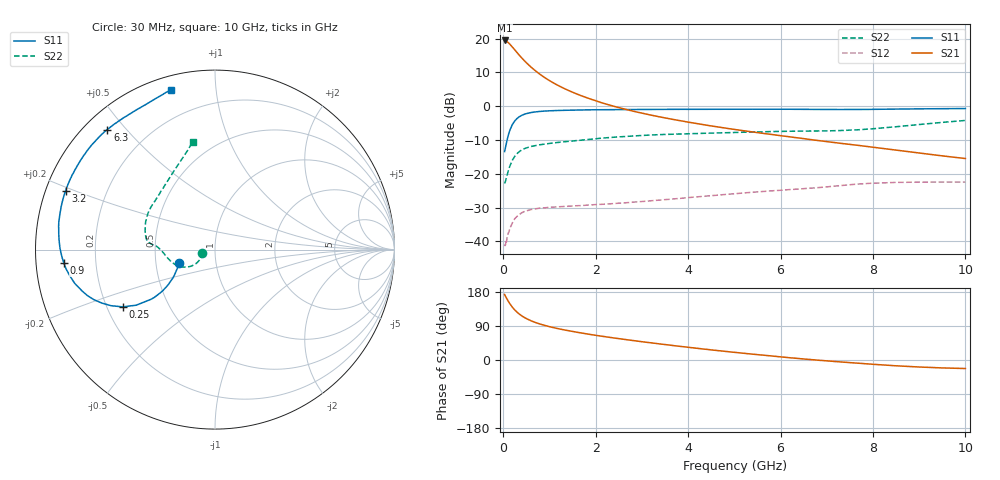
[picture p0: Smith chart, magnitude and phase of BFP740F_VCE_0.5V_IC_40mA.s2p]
! Infineon Technologies  Discrete & RF Semiconductors
! BFP740F
! VCE =  0.5 V,  IC =  40 mA
! Common Emitter S-Parameters:  Oct 2012
# GHz  S  MA  R  50
!  f  S11  S21  S12  S22
! GHz  MAG  ANG  MAG  ANG  MAG  ANG  MAG  ANG
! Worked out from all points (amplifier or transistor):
!   99 points, 30 MHz to 10 GHz, reference 50 ohm
!   highest |S21| = 19.4 dB at 30 MHz (marker M1)
!   |S21| within 3 dB of that: start of sweep to 263.5 MHz
!   unconditionally stable (mu >= 1): start of sweep to end of sweep
!   at 350 MHz: K = 1.83, MAG = 18.3 dB, |S12| = -32.0 dB
!   at 3.5 GHz: K = 3.10, MAG = 4.3 dB, |S12| = -27.6 dB
!   at 10 GHz: K = 4.11, MAG = -5.6 dB, |S12| = -22.4 dB
!   S11 on the Smith chart (normalised r, x): 30 MHz: 0.66, -0.10; 250 MHz: 0.26, -0.27; 900 MHz: 0.08, -0.04; 3.2 GHz: 0.06, +0.19; 6.3 GHz: 0.06, +0.44; 10 GHz: 0.06, +0.76
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0.03  0.2131 -159.7  9.362 172.8  0.0085 16.4  0.072 -166.7
0.06  0.2665 -147.9  9.192 165.9  0.0105 27.2  0.0833 -154.6
0.09  0.3279 -143.0  8.912 159.2  0.012 35.0  0.0985 -147.2
0.13  0.4125 -141.7  8.412 151.1  0.0143 37.5  0.1215 -144.0
0.2  0.5375 -144.8  7.459 139.0  0.0189 38.2  0.1594 -144.9
0.25  0.6053 -148.2  6.798 132.0  0.0217 36.5  0.1813 -147.6
0.35  0.6985 -154.8  5.645 121.0  0.025 31.7  0.2131 -153.4
0.4  0.7307 -157.6  5.171 116.6  0.0265 30.2  0.2247 -156.0
0.5  0.7747 -162.6  4.389 109.4  0.0282 27.2  0.2409 -160.7
0.6  0.8041 -166.5  3.786 103.6  0.0296 24.6  0.2532 -164.4
0.7  0.8221 -169.8  3.316 98.8  0.0303 23.0  0.2613 -167.7
0.9  0.8455 -175.0  2.637 91.2  0.0314 21.0  0.2749 -172.6
1.3  0.8668 178.0  1.85 79.9  0.0328 20.2  0.296 -178.4
1.7  0.8778 172.7  1.417 71.1  0.0339 21.0  0.3145 178.1
2.3  0.8871 166.6  1.038 59.8  0.0359 23.1  0.3433 175.8
3.2  0.8943 158.5  0.736 45.3  0.0399 26.4  0.3743 173.5
3.4  0.8956 156.7  0.691 42.2  0.0409 26.9  0.3795 172.9
5.1  0.9005 142.1  0.443 19.1  0.0513 28.7  0.4098 161.6
6.3  0.8983 131.9  0.344 5.0  0.0589 27.1  0.4263 149.5
6.7  0.8951 127.8  0.317 0.7  0.0616 26.5  0.4289 144.8
8.5  0.9048 111.2  0.224 -15.3  0.0745 17.4  0.4961 117.2
10  0.9224 105.4  0.168 -22.5  0.0755 11.1  0.6145 101.6
